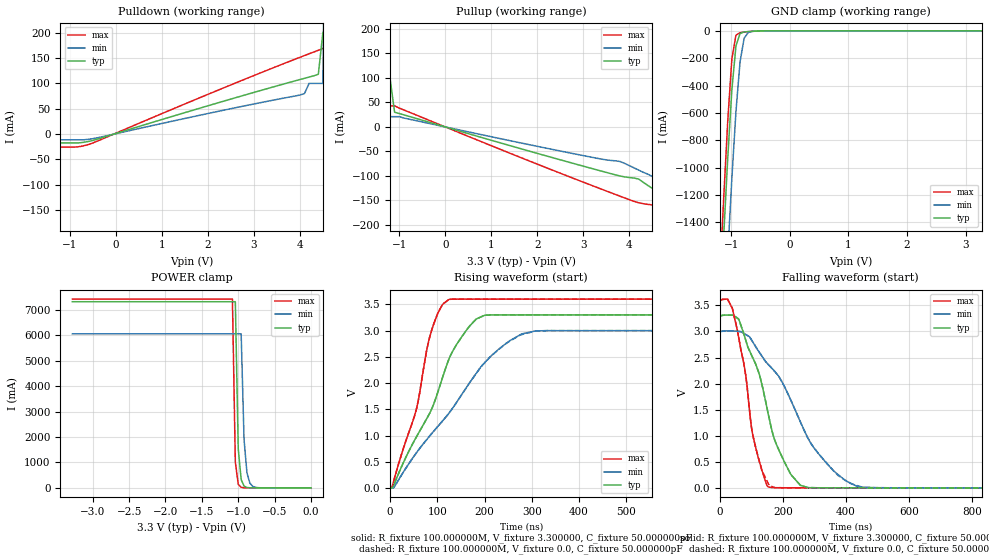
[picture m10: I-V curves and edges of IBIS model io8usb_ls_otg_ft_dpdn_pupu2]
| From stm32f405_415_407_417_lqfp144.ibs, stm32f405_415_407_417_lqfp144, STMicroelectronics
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|   Model io8usb_ls_otg_ft_dpdn_pupu2
[Model]  io8usb_ls_otg_ft_dpdn_pupu2
Model_type I/O
Polarity   Non-Inverting
Enable   Active-Low
Vinl =   0.990000V
Vinh =   2.310000V
Vmeas =  1.650000V
Cref =   50.000000pF
Rref =   100.000000M
Vref =   0.0V
C_comp   8.255900pF   7.991100pF   8.650600pF
[Temperature Range]   25.000000   0.125000k   -40.000000
[Pullup Reference]   3.300000V   3.000000V   3.600000V
[Pulldown Reference]   0.0V   0.0V   0.0V
[POWER Clamp Reference]   3.300000V   3.000000V   3.600000V
[GND Clamp Reference]   0.0V   0.0V   0.0V
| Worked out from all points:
|   slope of the pulldown table from 0 to 0.495 V, typ, clamps not added: 36.1 ohm
|   slope of the pullup table from 0 to 0.495 V, typ, clamps not added: 36.5 ohm
|   GND clamp passes 1 mA (typ) near -0.52 V on its own axis
|   POWER clamp passes 1 mA (typ) near -0.80 V on its own axis
|   rising waveform, R_fixture 100.000000M, V_fixture 3.300000, C_fixture 50.000000pF: 20-80 % time 96.9ns typ, 151ns min, 56.9ns max; typ from 0.008 V to 3.3 V
|   rising waveform, R_fixture 100.000000M, V_fixture 0.0, C_fixture 50.000000pF: 20-80 % time 96.9ns typ, 151ns min, 56.9ns max; typ from 0.008 V to 3.3 V
|   falling waveform, R_fixture 100.000000M, V_fixture 3.300000, C_fixture 50.000000pF: 20-80 % time 98.6ns typ, 172ns min, 55.9ns max; typ from 3.3 V to 0.008 V
|   falling waveform, R_fixture 100.000000M, V_fixture 0.0, C_fixture 50.000000pF: 20-80 % time 98.6ns typ, 172ns min, 55.9ns max; typ from 3.3 V to 0.008 V
[Pulldown]
|Voltage   I(typ)   I(min)   I(max)
-3.3V     -182mA     -11.2mA    -25.53mA
-3.2V     -17.29mA   -11.2mA    -25.53mA
-600mV    -14.61mA   -10.33mA   -20.77mA
4V        107.6mA    77mA       151.4mA
4.1V      110mA      80mA       154.9mA
4.2V      112.5mA    100mA      158.4mA
4.4V      118mA      100mA      165.2mA
4.5V      200mA      100mA      168.6mA
4.6V      200mA      1A         172mA
4.7V      200mA      1A         176mA
4.8V      1A         1A         200mA
6.6V      1A         1A         1A
[Pullup]
|Voltage   I(typ)   I(min)   I(max)
-3.3V     1A         1A         1A
-1.9V     1A         1A         1A
-1.8V     100mA      1A         1A
-1.7V     100mA      1A         100mA
-1.6V     100mA      1A         100mA
-1.5V     100mA      21mA       100mA
-1.3V     100mA      21mA       100mA
-1.2V     100mA      21mA       43mA
-1.1V     30mA       21mA       43mA
4.2V      -106.4mA   -88.1mA    -154.8mA
5V        -155.6mA   -124mA     -201.7mA
6.6V      -222mA     -161mA     -319mA
[GND_clamp]
|Voltage   I(typ)   I(min)   I(max)
-3.3V     -9.433A    -9.435A    -9.911A
-1.2V     -2.116A    -2.846A    -1.847A
-1.13V    -1.505A    -2.23A     -1.23A
-1.06V    -930.4mA   -1.637A    -658.9mA
-990mV    -432.7mA   -1.08A     -207.3mA
-920mV    -110.5mA   -590.3mA   -31.59mA
-850mV    -19.84mA   -226.8mA   -13.66mA
-780mV    -8.32mA    -54.05mA   -9.516mA
-710mV    -5.29mA    -11.97mA   -6.271mA
-640mV    -3.236mA   -4.296mA   -3.584mA
3.28V     0A         0A         0A
[POWER_clamp]
|Voltage   I(typ)   I(min)   I(max)
-3.28V    7.329A     6.064A     7.431A
-1.08V    7.329A     6.064A     7.431A
-1.04V    7.329A     6.064A     1.016A
-1V       1.545A     6.064A     139.4mA
-960mV    326.1mA    6.064A     19.66mA
-920mV    69.13mA    1.89A      3.273mA
-880mV    14.93mA    589.3mA    2.081mA
-840mV    3.481mA    183.9mA    2.081mA
-800mV    1.046mA    57.51mA    2.081mA
-720mV    377.9uA    5.818mA    2.081mA
0V        102.7nA    83.74nA    311.9nA
[Ramp]
| variable   typ   min   max
dV/dt_r  1.45122/0.11073u   1.20359/0.19784u   1.71494/65.08987n
dV/dt_f  1.45552/95.08162n   1.20641/0.16624u   1.71727/55.24844n
R_load = 100.000000
[Rising Waveform]
R_fixture= 100.000000M
V_fixture= 3.300000
V_fixture_min= 3.000000
V_fixture_max= 3.600000
C_fixture= 50.000000pF
|time   V(typ)   V(min)   V(max)
0s        7.865mV    8.028mV    8.988mV
4.004ns   7.236mV    8.015mV    11.18mV
54.72ns   958.2mV    659.4mV    1.468V
88.09ns   1.506V     1.039V     3.007V
110.8ns   2.098V     1.277V     3.492V
125.5ns   2.475V     1.438V     3.596V
182.8ns   3.224V     2.192V     3.6V
252.3ns   3.3V       2.802V     3.6V
308.3ns   3.3V       2.995V     3.6V
1.333us   3.3V       3V         3.6V
[Rising Waveform]
R_fixture= 100.000000M
V_fixture= 0.0
V_fixture_min= 0.0
V_fixture_max= 0.0
C_fixture= 50.000000pF
|time   V(typ)   V(min)   V(max)
0s        7.864mV    8.027mV    8.987mV
54.72ns   958.1mV    659.4mV    1.468V
77.41ns   1.32V      922.9mV    2.617V
89.42ns   1.534V     1.053V     3.045V
110.8ns   2.098V     1.278V     3.495V
125.5ns   2.475V     1.438V     3.597V
182.8ns   3.224V     2.192V     3.6V
244.2ns   3.3V       2.749V     3.6V
308.3ns   3.3V       2.993V     3.6V
1.333us   3.3V       3V         3.6V
[Falling Waveform]
R_fixture= 100.000000M
V_fixture= 3.300000
V_fixture_min= 3.000000
V_fixture_max= 3.600000
C_fixture= 50.000000pF
|time   V(typ)   V(min)   V(max)
0s        3.3V       3V         3.6V
41.37ns   3.312V     3.01V      3.418V
82.75ns   2.834V     2.94V      2.164V
104.1ns   2.508V     2.807V     1.052V
153.5ns   1.437V     2.371V     29.8mV
190.9ns   688.5mV    2.103V     9.641mV
254.9ns   61.6mV     1.28V      8.999mV
335ns     8.368mV    504.8mV    8.989mV
436.4ns   7.843mV    31.24mV    8.988mV
1.333us   7.854mV    8.027mV    8.988mV
[Falling Waveform]
R_fixture= 100.000000M
V_fixture= 0.0
V_fixture_min= 0.0
V_fixture_max= 0.0
C_fixture= 50.000000pF
|time   V(typ)   V(min)   V(max)
0s        3.3V       3V         3.6V
41.37ns   3.312V     3.01V      3.418V
82.75ns   2.834V     2.94V      2.164V
105.4ns   2.491V     2.794V     1.012V
157.5ns   1.323V     2.346V     49.74mV
198.9ns   584.6mV    2.021V     9.477mV
254.9ns   61.39mV    1.28V      8.968mV
315ns     8.173mV    647.4mV    8.965mV
416.4ns   7.819mV    84.48mV    8.994mV
1.333us   7.853mV    8.028mV    9.013mV
